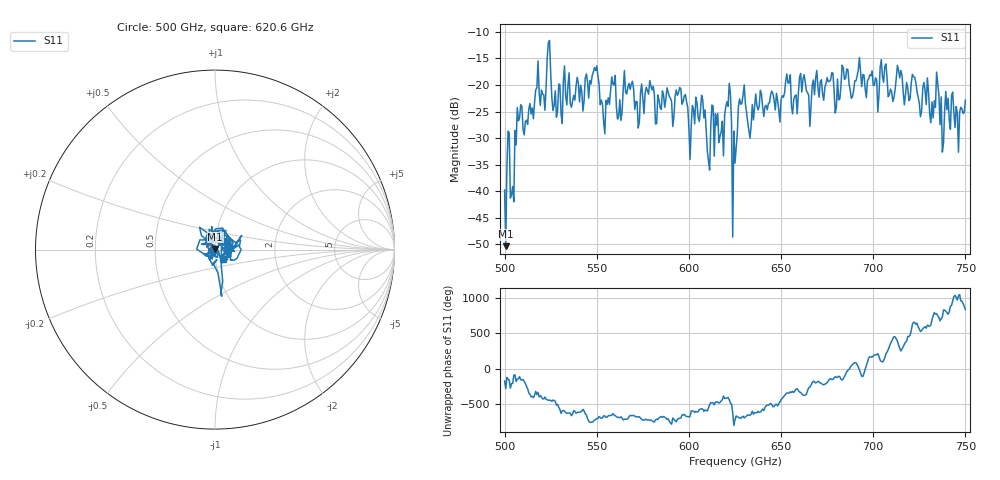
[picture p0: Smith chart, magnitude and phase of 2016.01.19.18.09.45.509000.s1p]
!Created with skrf (http://scikit-rf.org).
# GHz S RI R 50.0
!freq ReS11 ImS11
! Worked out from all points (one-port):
!   401 points, 500 GHz to 750 GHz, reference 50 ohm
!   lowest |S11| = -50.4 dB at 500.6 GHz (marker M1), VSWR 1.01, Z = 50.1 + j0.299 ohm
!   |S11| at or under -10 dB: start of sweep to end of sweep
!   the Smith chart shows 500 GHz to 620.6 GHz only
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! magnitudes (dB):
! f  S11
! 500 GHz  -39.8
! 500.6 GHz  -50.4
! 504.4 GHz  -39.1
! 508.1 GHz  -26.1
! 520.6 GHz  -21.8
! 523.8 GHz  -12.0
! 526.9 GHz  -23.8
! 531.2 GHz  -27.2
! 549.4 GHz  -17.3
! 553.1 GHz  -23.7
! 558.8 GHz  -19.8
! 562.5 GHz  -22.8
! 566.2 GHz  -21.7
! 571.9 GHz  -23.2
! 593.8 GHz  -22.0
! 600.6 GHz  -34.0
! 607.5 GHz  -22.8
! 610.6 GHz  -34.4
! 621.2 GHz  -24.0
! 625 GHz  -34.7
! 628.8 GHz  -23.4
! 632.5 GHz  -28.5
! 656.2 GHz  -25.4
! 687.5 GHz  -21.0
! 718.8 GHz  -20.6
! 734.4 GHz  -17.6
! 737.5 GHz  -32.6
! 750 GHz  -22.9
